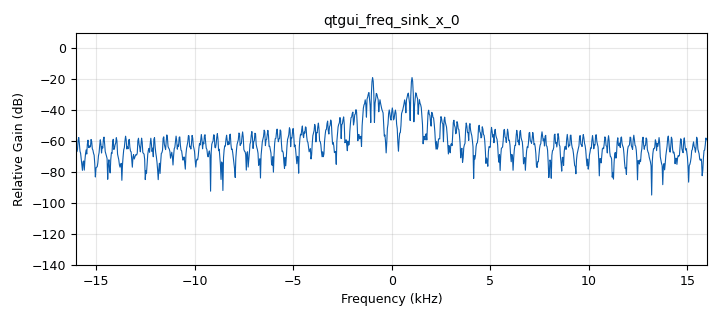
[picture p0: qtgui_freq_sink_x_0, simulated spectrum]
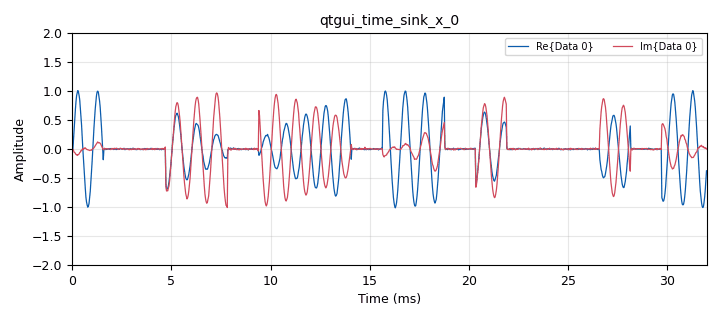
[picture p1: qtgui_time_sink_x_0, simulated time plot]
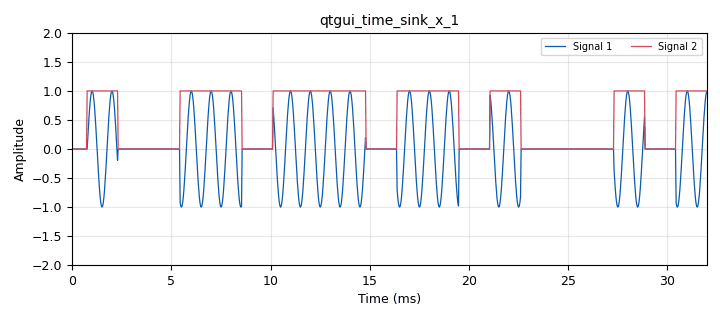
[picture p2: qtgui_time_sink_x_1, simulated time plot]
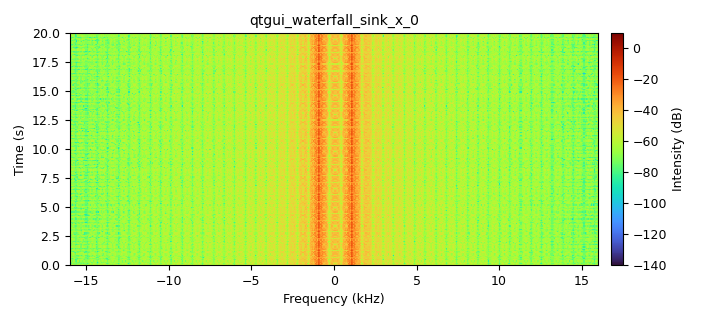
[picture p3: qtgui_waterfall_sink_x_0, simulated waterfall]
options:
  parameters:
    generate_options: qt_gui
    id: BPSK
    output_language: python
    title: Not titled yet
  states: {}

blocks:
- name: M
  id: variable
  parameters:
    value: '2'
  states: {}
- name: bpsk
  id: variable_constellation
  parameters:
    npwr: '0.001'
    precision: '8'
    type: bpsk
  states: {}
- name: excess_bw
  id: variable
  parameters:
    value: '0.35'
  states: {}
- name: freq_offset
  id: variable_qtgui_range
  parameters:
    comment: 0,2,1,1
    label: 'Channel: Frequency Offset'
    start: '-0.1'
    step: '0.001'
    stop: '0.1'
    value: '0.001'
    widget: eng_slider
  states: {}
- name: noise_volt
  id: variable_qtgui_range
  parameters:
    comment: 0,0,1,1
    label: 'Channel: Noise Voltage'
    start: '0'
    step: '0.01'
    stop: '1'
    value: '0.01'
  states: {}
- name: rrc_taps
  id: variable
  parameters:
    value: firdes.root_raised_cosine(1.0,samp_rate,samp_rate/sps,excess_bw,11*sps)
  states: {}
- name: samp_rate
  id: variable
  parameters:
    value: '32000'
  states: {}
- name: sps
  id: variable
  parameters:
    value: '8'
  states: {}
- name: taps
  id: variable
  parameters:
    value: '[1.0 + 0.0j, ]'
  states: {}
- name: time_offset
  id: variable_qtgui_range
  parameters:
    comment: 0,1,1,1
    label: 'Channel: Timing Offset'
    start: '0.999'
    step: '0.0001'
    stop: '1.001'
    value: '1.0001'
  states: {}
- name: analog_const_source_x_0
  id: analog_const_source_x
  parameters:
    const: '0'
    type: float
  states: {}
- name: analog_random_source_x_0
  id: analog_random_source_x
  parameters:
    max: M
    min: '0'
    num_samps: '1024'
    repeat: 'True'
    type: byte
  states: {}
- name: analog_sig_source_x_0
  id: analog_sig_source_x
  parameters:
    amp: '1'
    freq: 1e3
    offset: '0'
    phase: '0'
    samp_rate: samp_rate
    type: float
    waveform: analog.GR_COS_WAVE
  states: {}
- name: analog_sig_source_x_0_0
  id: analog_sig_source_x
  parameters:
    amp: '1'
    freq: '100'
    offset: '0'
    phase: '0'
    samp_rate: samp_rate
    type: float
    waveform: analog.GR_SQR_WAVE
  states: {state: disabled}
- name: blocks_char_to_float_0
  id: blocks_char_to_float
  parameters:
    scale: '1'
  states: {}
- name: blocks_file_meta_sink_0
  id: blocks_file_meta_sink
  parameters:
    detached: 'False'
    extra_dict: pmt.make_dict()
    max_seg_size: '1000000'
    rel_rate: '1'
    samp_rate: samp_rate
    type: complex
  states: {state: disabled}
- name: blocks_float_to_complex_0
  id: blocks_float_to_complex
  parameters: {}
  states: {}
- name: blocks_multiply_xx_0
  id: blocks_multiply_xx
  parameters:
    type: float
  states: {}
- name: blocks_repeat_0
  id: blocks_repeat
  parameters:
    interp: '50'
    type: float
  states: {}
- name: blocks_throttle2_0_1
  id: blocks_throttle2
  parameters:
    samples_per_second: samp_rate
    type: float
  states: {}
- name: channels_channel_model_0
  id: channels_channel_model
  parameters:
    epsilon: time_offset
    freq_offset: freq_offset
    noise_voltage: noise_volt
    seed: '0'
    taps: taps
  states: {}
- name: epy_block_0
  id: epy_block
  parameters:
    _source_code: "import numpy as np\nfrom gnuradio import gr\n\nclass custom_file_writer(gr.sync_block):\n    def __init__(self, filename='output.dat', num_samples=1024):\n        gr.sync_block.__init__(self, name=\"custom_file_writer\", in_sig=[np.complex64], out_sig=None)\n        self.counter = 0\n        self.samples_per_file = num_samples\n        self.filename = filename\n\n        # Create message port for enabling writing\n        self.message_port_register_in(gr.pmt.intern(\"enable_write\"))\n        self.set_msg_handler(gr.pmt.intern(\"enable_write\"), self.handle_message)\n\n        # Buffer to hold incoming data\n        self.buffer = []\n\n    def handle_message(self, msg):\n        # Check if the message is a boolean 'true' (1)\n        if gr.pmt.is_true(msg):\n            self.write_to_file()\n\n    def write_to_file(self):\n        # Check if there are enough samples in the buffer\n        if len(self.buffer) < self.samples_per_file:\n            return  # Not enough data to write\n\n        # Write the specified number of samples to a file\n        filename = f\"{self.filename}_{self.counter}.dat\"\n        with open(filename, 'ab') as f:\n            # Write the first `num_samples` samples to the file\n            f.write(np.array(self.buffer[:self.samples_per_file]).tobytes())\n        \n        # Remove written samples from buffer\n        self.buffer = self.buffer[self.samples_per_file:]  \n        \n        self.counter += 1\n\n    def work(self, input_items, output_items):\n        # Append incoming samples to the buffer\n        self.buffer.extend(input_items[0])  # Add new samples to the buffer\n        return len(input_items[0])  # Return the number of samples processed\n\n"
    filename: '"OOK"'
    num_samples: '1024'
  states: {}
- name: id_write_button
  id: variable_qtgui_msg_push_button
  parameters:
    label: write
    msgName: pressed
    type: bool
    value: '1'
  states: {}
- name: qtgui_freq_sink_x_0
  id: qtgui_freq_sink_x
  parameters:
    bw: samp_rate
    fc: '0'
    fftsize: '1024'
    gui_hint: 1,2,1,2
    type: complex
  states: {}
- name: qtgui_time_sink_x_0
  id: qtgui_time_sink_x
  parameters:
    entags: 'False'
    gui_hint: 1,0,1,2
    size: '1024'
    srate: samp_rate
    type: complex
    ymax: M/2+1
    ymin: '-M/2-1'
  states: {}
- name: qtgui_time_sink_x_1
  id: qtgui_time_sink_x
  parameters:
    entags: 'False'
    nconnections: '2'
    size: '1024'
    srate: samp_rate
    type: float
    ymax: M/2+1
    ymin: '-M/2-1'
  states: {}
- name: qtgui_waterfall_sink_x_0
  id: qtgui_waterfall_sink_x
  parameters:
    bw: samp_rate
    fc: '0'
    fftsize: '1024'
    type: complex
  states: {}

connections:
- [analog_const_source_x_0, '0', blocks_float_to_complex_0, '1']
- [analog_random_source_x_0, '0', blocks_char_to_float_0, '0']
- [analog_sig_source_x_0, '0', blocks_throttle2_0_1, '0']
- [analog_sig_source_x_0_0, '0', blocks_multiply_xx_0, '1']
- [blocks_char_to_float_0, '0', blocks_repeat_0, '0']
- [blocks_float_to_complex_0, '0', channels_channel_model_0, '0']
- [blocks_multiply_xx_0, '0', blocks_float_to_complex_0, '0']
- [blocks_multiply_xx_0, '0', qtgui_time_sink_x_1, '0']
- [blocks_repeat_0, '0', blocks_multiply_xx_0, '1']
- [blocks_repeat_0, '0', qtgui_time_sink_x_1, '1']
- [blocks_throttle2_0_1, '0', blocks_multiply_xx_0, '0']
- [channels_channel_model_0, '0', epy_block_0, '0']
- [channels_channel_model_0, '0', qtgui_freq_sink_x_0, '0']
- [channels_channel_model_0, '0', qtgui_time_sink_x_0, '0']
- [channels_channel_model_0, '0', qtgui_waterfall_sink_x_0, '0']
- [id_write_button, pressed, epy_block_0, enable_write]

metadata:
  file_format: 1
  grc_version: 3.10.9.2
